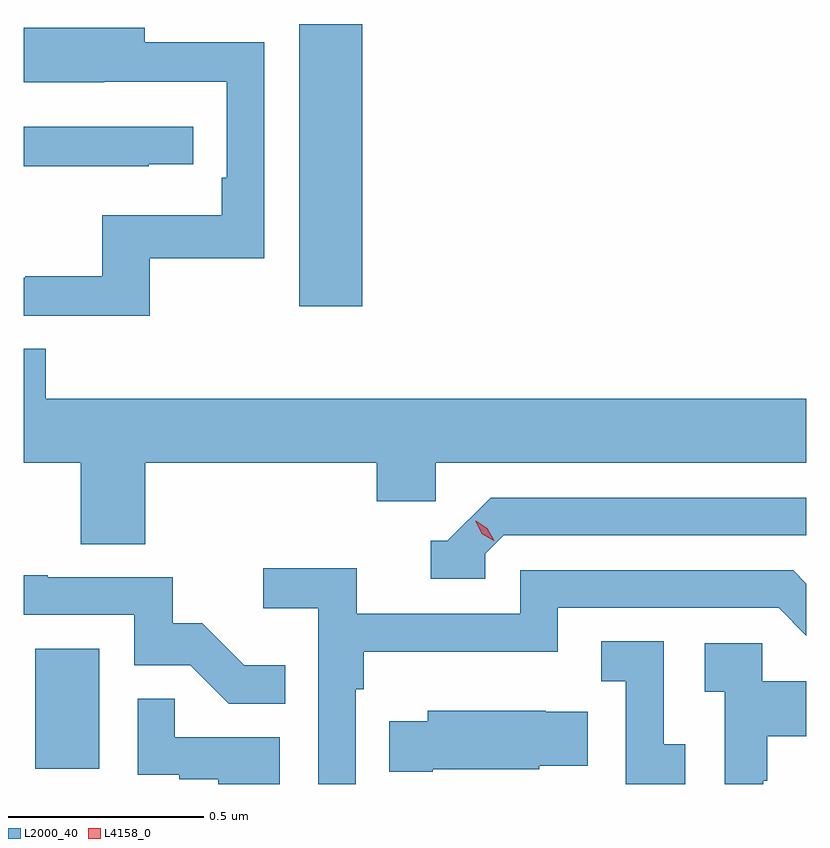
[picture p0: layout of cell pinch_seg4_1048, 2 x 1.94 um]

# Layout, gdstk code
import gdstk
lib = gdstk.Library(unit=1e-6, precision=1e-09)
def R(c, l, rs):  # rectangles x0, y0, x1, y1
    for r in rs: c.add(gdstk.rectangle(r[:2], r[2:], *l))
def P(c, l, *ps):  # polygons
    for p in ps: c.add(gdstk.Polygon(p, *l))
L2000_40 = (2000, 40)
L4158_0 = (4158, 0)

pinch_seg4_1048 = lib.new_cell('pinch_seg4_1048')
R(pinch_seg4_1048, L2000_40, [(803.348,772.062,803.512,772.369), (804.023,773.244,804.184,773.965)])
P(pinch_seg4_1048, L2000_40, [(803.641,773.367),(803.934,773.367),(803.934,773.918),(803.629,773.918),(803.629,773.956),(803.319,773.956),(803.319,773.816),(803.525,773.816),(803.525,773.817),(803.838,773.817),(803.838,773.572),(803.825,773.572),(803.825,773.476),(803.52,773.476),(803.52,773.321),(803.323,773.321),(803.323,773.316),(803.319,773.316),(803.319,773.22),(803.641,773.22)],
  [(803.639,773.607),(803.752,773.607),(803.752,773.703),(803.319,773.703),(803.319,773.602),(803.639,773.602)],
  [(803.63,772.844),(804.221,772.844),(804.221,772.746),(804.372,772.746),(804.372,772.844),(805.319,772.844),(805.319,773.008),(803.375,773.008),(803.375,773.135),(803.319,773.135),(803.319,772.844),(803.465,772.844),(803.465,772.636),(803.63,772.636)],
  [(804.498,772.611),(804.546,772.659),(805.319,772.659),(805.319,772.755),(804.513,772.755),(804.402,772.644),(804.359,772.644),(804.359,772.548),(804.498,772.548)],
  [(804.168,772.265),(804.188,772.265),(804.188,772.361),(804.684,772.361),(804.684,772.473),(805.248,772.473),(805.319,772.402),(805.319,772.535),(805.285,772.569),(804.588,772.569),(804.588,772.458),(804.17,772.458),(804.17,772.574),(803.931,772.574),(803.931,772.472),(804.072,772.472),(804.072,772.023),(804.168,772.023)],
  [(803.987,772.327),(803.883,772.327),(803.776,772.434),(803.7,772.434),(803.7,772.551),(803.381,772.551),(803.381,772.556),(803.319,772.556),(803.319,772.455),(803.601,772.455),(803.601,772.326),(803.745,772.326),(803.843,772.228),(803.987,772.228)],
  [(805.009,772.125),(804.954,772.125),(804.954,772.388),(804.795,772.388),(804.795,772.285),(804.858,772.285),(804.858,772.023),(805.009,772.023)],
  [(805.209,772.031),(805.219,772.031),(805.219,772.145),(805.319,772.145),(805.319,772.285),(805.206,772.285),(805.206,772.383),(805.059,772.383),(805.059,772.259),(805.11,772.259),(805.11,772.023),(805.209,772.023)],
  [(803.974,772.143),(803.705,772.143),(803.705,772.241),(803.61,772.241),(803.61,772.047),(803.717,772.047),(803.717,772.035),(803.816,772.035),(803.816,772.023),(803.974,772.023)],
  [(804.364,772.061),(804.636,772.061),(804.636,772.07),(804.761,772.07),(804.761,772.207),(804.653,772.207),(804.653,772.21),(804.351,772.21),(804.351,772.183),(804.253,772.183),(804.253,772.054),(804.364,772.054)])
P(pinch_seg4_1048, L4158_0, [(804.52,772.644),(804.49,772.663),(804.473,772.696),(804.473,772.696),(804.474,772.696),(804.504,772.676),(804.521,772.644),(804.521,772.644)])

lib.write_gds('pinch_seg4_1048.gds')
